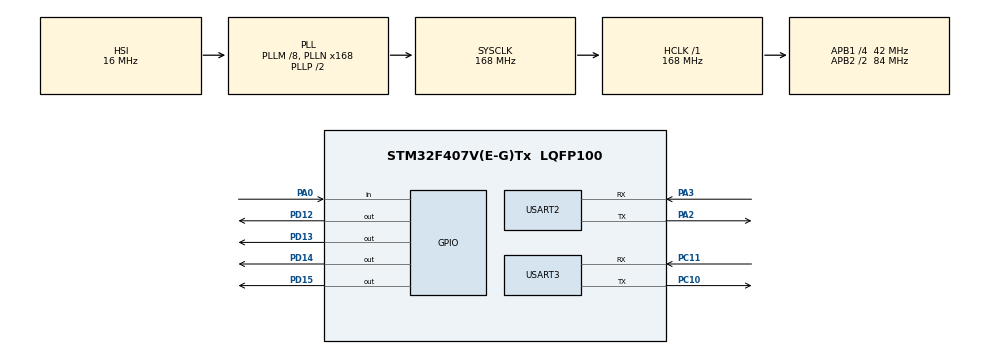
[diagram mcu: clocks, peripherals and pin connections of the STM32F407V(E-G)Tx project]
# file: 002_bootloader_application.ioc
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Mcu.Family=STM32F4
Mcu.Name=STM32F407V(E-G)Tx
Mcu.Package=LQFP100
NVIC.PriorityGroup=NVIC_PRIORITYGROUP_0
PA0-WKUP.Signal=GPIO_Input
PA2.Mode=Asynchronous
PA2.Signal=USART2_TX
PA3.Mode=Asynchronous
PA3.Signal=USART2_RX
PC10.Mode=Asynchronous
PC10.Signal=USART3_TX
PC11.Mode=Asynchronous
PC11.Signal=USART3_RX
PD12.Signal=GPIO_Output
PD13.Signal=GPIO_Output
PD14.Signal=GPIO_Output
PD15.Signal=GPIO_Output
ProjectManager.HeapSize=0x200
ProjectManager.StackSize=0x400
ProjectManager.TargetToolchain=MDK-ARM V5.32
RCC.48MHZClocksFreq_Value=48000000
RCC.AHBFreq_Value=168000000
RCC.APB1CLKDivider=RCC_HCLK_DIV4
RCC.APB1Freq_Value=42000000
RCC.APB1TimFreq_Value=84000000
RCC.APB2CLKDivider=RCC_HCLK_DIV2
RCC.APB2Freq_Value=84000000
RCC.APB2TimFreq_Value=168000000
RCC.CortexFreq_Value=168000000
RCC.HCLKFreq_Value=168000000
RCC.HSE_VALUE=8000000
RCC.HSI_VALUE=16000000
RCC.PLLM=8
RCC.PLLN=168
RCC.PLLQ=7
RCC.SYSCLKFreq_VALUE=168000000
RCC.SYSCLKSource=RCC_SYSCLKSOURCE_PLLCLK
RCC.VCOOutputFreq_Value=336000000
USART2.VirtualMode=VM_ASYNC
USART3.VirtualMode=VM_ASYNC
board=STM32F407G-DISC1

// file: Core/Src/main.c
/* USER CODE BEGIN Header */
/**
  ******************************************************************************
  * @file           : main.c
  * @brief          : Main program body
  ******************************************************************************
  * @attention
  *
  * Copyright (c) 2024 STMicroelectronics.
  * All rights reserved.
  *
  * This software is licensed under terms that can be found in the LICENSE file
  * in the root directory of this software component.
  * If no LICENSE file comes with this software, it is provided AS-IS.
  *
  ******************************************************************************
  */
/* USER CODE END Header */
#include "main.h"

/* USER CODE BEGIN Includes */
#include "stdarg.h"
#include "string.h"
#include <stdio.h>
#include "bootloader_commands.h"
#include "bootloader_command_app.h"

/* USER CODE END Includes */

/* USER CODE BEGIN PD */
#define FLASH_SECTOR2_BASE_ADDRESS 0x08008000

#define BL_RX_DATA_LENGTH 100

/* USER CODE END PD */

UART_HandleTypeDef huart2;
UART_HandleTypeDef huart3;

/* USER CODE BEGIN PV */
uint8_t bootloader_rx_data[BL_RX_DATA_LENGTH];
/* USER CODE END PV */

void SystemClock_Config(void);
static void MX_GPIO_Init(void);
static void MX_USART2_UART_Init(void);
static void MX_USART3_UART_Init(void);

/* USER CODE BEGIN 0 */
void printMessage (char* format,...){

	char comingMessage[100];
	va_list vaList;
	va_start(vaList,format);
	vsprintf(comingMessage,format,vaList);
	HAL_UART_Transmit(&huart2,(uint8_t*)comingMessage,strlen(comingMessage),HAL_MAX_DELAY);
	va_end(vaList);

}
void bootloader_jump_to_user_application()
{
	//Sifirlama isleyicisinin adresini tutan bir fonksiyon göstericisi
	void (*bootloader_application_reset_handler)(void);
	//Kullanici uygulamasina atlama kodu cagrildi
	printMessage("BL DEBUG MSG:Called bootloader_jump_to_user_application()\n");
	//MSP'nin degerini tut
	uint32_t mspValue=*(volatile uint32_t*)FLASH_SECTOR2_BASE_ADDRESS;
	printMessage("BL DEBUG MSG: MSP Value :%#x\n",mspValue);
  __set_MSP(mspValue);
  //Sifirlama isyeicisinin degerini tut (Reset Handler +4)
  uint32_t resetValue=*(volatile uint32_t*)(FLASH_SECTOR2_BASE_ADDRESS+4);
  printMessage("BL DEBUG MSG: Reset Value: %#x \n", resetValue);
  //Sifirlama isleyicisi ile bir islev baslat
  bootloader_application_reset_handler=(void*) resetValue;
	//Sifirlama isleyicisini cagir ve kullanici uygulamasina at
	bootloader_application_reset_handler();

}
void bootloader_uart_read_data()
{
uint8_t bl_rx_length=0;

while(1){

	memset(bootloader_rx_data,0,BL_RX_DATA_LENGTH);
	HAL_UART_Receive(&huart3,bootloader_rx_data,1,HAL_MAX_DELAY); //length of command
	bl_rx_length=bootloader_rx_data[0];
	HAL_UART_Receive(&huart3,bootloader_rx_data+1,bl_rx_length,HAL_MAX_DELAY);//command code

	switch(bootloader_rx_data[1])
	{
		case BL_GET_VER:
			bootloader_get_ver_cmd(bootloader_rx_data);
		break;
		default:
			break;

	}

}

}
/* USER CODE END 0 */

int main(void)
{

  /* MCU Configuration--------------------------------------------------------*/

  /* Reset of all peripherals, Initializes the Flash interface and the Systick. */
  HAL_Init();

  /* Configure the system clock */
  SystemClock_Config();

  /* Initialize all configured peripherals */
  MX_GPIO_Init();
  MX_USART2_UART_Init();
  MX_USART3_UART_Init();
  /* USER CODE BEGIN 2 */
if (HAL_GPIO_ReadPin(GPIOA,GPIO_PIN_0)==GPIO_PIN_SET)
{
	printMessage("BL DEBUG MODE:Button is pressed and going to BL mode\r\n");
	bootloader_uart_read_data();

}
else
{

	printMessage("BL DEBUG MODE :Button is not pressed and executing user application\r\n");
	bootloader_jump_to_user_application();

}
  /* USER CODE END 2 */

  /* Infinite loop */
  while (1)
  {

  }
}

void SystemClock_Config(void)
{
  RCC_OscInitTypeDef RCC_OscInitStruct = {0};
  RCC_ClkInitTypeDef RCC_ClkInitStruct = {0};

  /** Configure the main internal regulator output voltage
  */
  __HAL_RCC_PWR_CLK_ENABLE();
  __HAL_PWR_VOLTAGESCALING_CONFIG(PWR_REGULATOR_VOLTAGE_SCALE1);

  /** Initializes the RCC Oscillators according to the specified parameters
  * in the RCC_OscInitTypeDef structure.
  */
  RCC_OscInitStruct.OscillatorType = RCC_OSCILLATORTYPE_HSI;
  RCC_OscInitStruct.HSIState = RCC_HSI_ON;
  RCC_OscInitStruct.HSICalibrationValue = RCC_HSICALIBRATION_DEFAULT;
  RCC_OscInitStruct.PLL.PLLState = RCC_PLL_ON;
  RCC_OscInitStruct.PLL.PLLSource = RCC_PLLSOURCE_HSI;
  RCC_OscInitStruct.PLL.PLLM = 8;
  RCC_OscInitStruct.PLL.PLLN = 168;
  RCC_OscInitStruct.PLL.PLLP = RCC_PLLP_DIV2;
  RCC_OscInitStruct.PLL.PLLQ = 7;
  if (HAL_RCC_OscConfig(&RCC_OscInitStruct) != HAL_OK)
  {
    Error_Handler();
  }

  /** Initializes the CPU, AHB and APB buses clocks
  */
  RCC_ClkInitStruct.ClockType = RCC_CLOCKTYPE_HCLK|RCC_CLOCKTYPE_SYSCLK
                              |RCC_CLOCKTYPE_PCLK1|RCC_CLOCKTYPE_PCLK2;
  RCC_ClkInitStruct.SYSCLKSource = RCC_SYSCLKSOURCE_PLLCLK;
  RCC_ClkInitStruct.AHBCLKDivider = RCC_SYSCLK_DIV1;
  RCC_ClkInitStruct.APB1CLKDivider = RCC_HCLK_DIV4;
  RCC_ClkInitStruct.APB2CLKDivider = RCC_HCLK_DIV2;

  if (HAL_RCC_ClockConfig(&RCC_ClkInitStruct, FLASH_LATENCY_5) != HAL_OK)
  {
    Error_Handler();
  }
}

static void MX_USART2_UART_Init(void)
{

  huart2.Instance = USART2;
  huart2.Init.BaudRate = 115200;
  huart2.Init.WordLength = UART_WORDLENGTH_8B;
  huart2.Init.StopBits = UART_STOPBITS_1;
  huart2.Init.Parity = UART_PARITY_NONE;
  huart2.Init.Mode = UART_MODE_TX_RX;
  huart2.Init.HwFlowCtl = UART_HWCONTROL_NONE;
  huart2.Init.OverSampling = UART_OVERSAMPLING_16;
  if (HAL_UART_Init(&huart2) != HAL_OK)
  {
    Error_Handler();
  }

}

static void MX_USART3_UART_Init(void)
{

  huart3.Instance = USART3;
  huart3.Init.BaudRate = 115200;
  huart3.Init.WordLength = UART_WORDLENGTH_8B;
  huart3.Init.StopBits = UART_STOPBITS_1;
  huart3.Init.Parity = UART_PARITY_NONE;
  huart3.Init.Mode = UART_MODE_TX_RX;
  huart3.Init.HwFlowCtl = UART_HWCONTROL_NONE;
  huart3.Init.OverSampling = UART_OVERSAMPLING_16;
  if (HAL_UART_Init(&huart3) != HAL_OK)
  {
    Error_Handler();
  }

}

static void MX_GPIO_Init(void)
{
  GPIO_InitTypeDef GPIO_InitStruct = {0};

  /* GPIO Ports Clock Enable */
  __HAL_RCC_GPIOA_CLK_ENABLE();
  __HAL_RCC_GPIOD_CLK_ENABLE();
  __HAL_RCC_GPIOC_CLK_ENABLE();

  /*Configure GPIO pin Output Level */
  HAL_GPIO_WritePin(GPIOD, GPIO_PIN_12|GPIO_PIN_13|GPIO_PIN_14|GPIO_PIN_15, GPIO_PIN_RESET);

  /*Configure GPIO pin : PA0 */
  GPIO_InitStruct.Pin = GPIO_PIN_0;
  GPIO_InitStruct.Mode = GPIO_MODE_INPUT;
  GPIO_InitStruct.Pull = GPIO_NOPULL;
  HAL_GPIO_Init(GPIOA, &GPIO_InitStruct);

  /*Configure GPIO pins : PD12 PD13 PD14 PD15 */
  GPIO_InitStruct.Pin = GPIO_PIN_12|GPIO_PIN_13|GPIO_PIN_14|GPIO_PIN_15;
  GPIO_InitStruct.Mode = GPIO_MODE_OUTPUT_PP;
  GPIO_InitStruct.Pull = GPIO_NOPULL;
  GPIO_InitStruct.Speed = GPIO_SPEED_FREQ_LOW;
  HAL_GPIO_Init(GPIOD, &GPIO_InitStruct);

}

void Error_Handler(void)
{
  __disable_irq();
  while (1)
  {
  }
}
